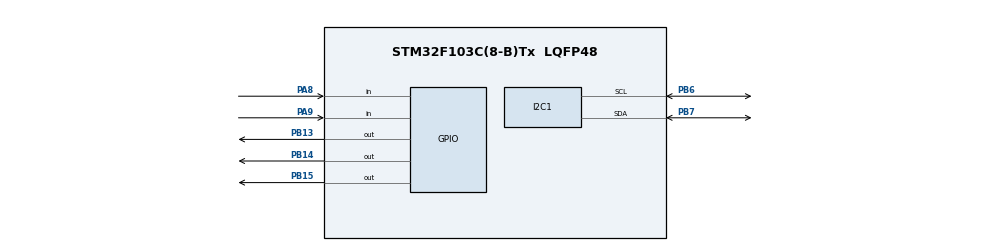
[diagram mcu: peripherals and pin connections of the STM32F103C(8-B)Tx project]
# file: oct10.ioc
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Mcu.Family=STM32F1
Mcu.Name=STM32F103C(8-B)Tx
Mcu.Package=LQFP48
NVIC.PriorityGroup=NVIC_PRIORITYGROUP_4
PA8.GPIO_PuPd=GPIO_PULLUP
PA8.Signal=GPIO_Input
PA9.GPIO_PuPd=GPIO_PULLUP
PA9.Signal=GPIO_Input
PB13.Signal=GPIO_Output
PB14.Signal=GPIO_Output
PB15.Signal=GPIO_Output
PB6.Mode=I2C
PB6.Signal=I2C1_SCL
PB7.Mode=I2C
PB7.Signal=I2C1_SDA
ProjectManager.HeapSize=0x200
ProjectManager.StackSize=0x400
ProjectManager.TargetToolchain=STM32CubeIDE
RCC.APB1Freq_Value=8000000
RCC.APB2Freq_Value=8000000
RCC.SYSCLKSource=RCC_SYSCLKSOURCE_PLLCLK
VP_SYS_VS_ND.Mode=No_Debug
board=custom

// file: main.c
/* USER CODE BEGIN Header */
/**
  ******************************************************************************
  * @file           : main.c
  * @brief          : Main program body
  ******************************************************************************
  * @attention
  *
  * Copyright (c) 2026 STMicroelectronics.
  * All rights reserved.
  *
  * This software is licensed under terms that can be found in the LICENSE file
  * in the root directory of this software component.
  * If no LICENSE file comes with this software, it is provided AS-IS.
  *
  ******************************************************************************
  */
/* USER CODE END Header */
#include "main.h"
#include <string.h>
#include <stdio.h>
#include "ssd1306.h"
#include "ssd1306_tests.h"
#include "ssd1306_fonts.h"

I2C_HandleTypeDef hi2c1;

void SystemClock_Config(void);
static void MX_GPIO_Init(void);
static void MX_I2C1_Init(void);

int main(void)
{

  /* MCU Configuration--------------------------------------------------------*/

  /* Reset of all peripherals, Initializes the Flash interface and the Systick. */
  HAL_Init();

  /* Configure the system clock */
  SystemClock_Config();

  /* Initialize all configured peripherals */
  MX_GPIO_Init();
  MX_I2C1_Init();
  /* USER CODE BEGIN 2 */
  char message[100];
  GPIO_PinState previous = GPIO_PIN_RESET;
  uint32_t count =0;
  /* USER CODE END 2 */

  /* Infinite loop */
  while (1)
  {

    /* USER CODE BEGIN 3 */
	  ssd1306_Fill(Black);
	  ssd1306_SetCursor(10, 0);
	  ssd1306_WriteString("RED", Font_16x15, White);
	  ssd1306_SetCursor(10, 20);
	  ssd1306_WriteString("GREEN", Font_16x15, White);
	  ssd1306_SetCursor(10, 40);
	  ssd1306_WriteString("BLUE", Font_16x15, White);
	  GPIO_PinState current = HAL_GPIO_ReadPin(GPIOA, GPIO_PIN_8);
	  GPIO_PinState light = HAL_GPIO_ReadPin(GPIOA, GPIO_PIN_9);
	  if(current != previous){
		  if (current == GPIO_PIN_SET) {   // ← only count the press edge
		          count =(count +1)%3;
		      }
	  }
	  previous = current;
	  snprintf(message, sizeof(message), "count %lu", count);
	  ssd1306_SetCursor(70, 0);
      ssd1306_WriteString(message, Font_6x8, White);
      ssd1306_UpdateScreen();
      HAL_GPIO_WritePin(GPIOB, GPIO_PIN_15, GPIO_PIN_RESET);
      HAL_GPIO_WritePin(GPIOB, GPIO_PIN_14, GPIO_PIN_RESET);
      HAL_GPIO_WritePin(GPIOB, GPIO_PIN_13, GPIO_PIN_RESET);
      if(count == 0 ){
    	  ssd1306_SetCursor(0, 0);
    	  ssd1306_WriteString(">", Font_16x15, White);
    	  if(light == GPIO_PIN_RESET){
    		  HAL_GPIO_WritePin(GPIOB, GPIO_PIN_15,GPIO_PIN_SET);
    	  }
      }
	  else if(count ==1){
	 	  ssd1306_SetCursor(0, 20);
	 	  ssd1306_WriteString(">", Font_16x15, White);
	 	  if(light == GPIO_PIN_RESET){
	 		 HAL_GPIO_WritePin(GPIOB, GPIO_PIN_14,GPIO_PIN_SET);
	 	  }
	  }
	  else if(count ==2 ){
		  ssd1306_SetCursor(0, 40);
		  ssd1306_WriteString(">", Font_16x15, White);
		  if(light == GPIO_PIN_RESET){
			  HAL_GPIO_WritePin(GPIOB, GPIO_PIN_13,GPIO_PIN_SET);
		  }
	  }
      ssd1306_UpdateScreen();
  }
  /* USER CODE END 3 */
}

void SystemClock_Config(void)
{
  RCC_OscInitTypeDef RCC_OscInitStruct = {0};
  RCC_ClkInitTypeDef RCC_ClkInitStruct = {0};

  /** Initializes the RCC Oscillators according to the specified parameters
  * in the RCC_OscInitTypeDef structure.
  */
  RCC_OscInitStruct.OscillatorType = RCC_OSCILLATORTYPE_HSI;
  RCC_OscInitStruct.HSIState = RCC_HSI_ON;
  RCC_OscInitStruct.HSICalibrationValue = RCC_HSICALIBRATION_DEFAULT;
  RCC_OscInitStruct.PLL.PLLState = RCC_PLL_ON;
  RCC_OscInitStruct.PLL.PLLSource = RCC_PLLSOURCE_HSI_DIV2;
  RCC_OscInitStruct.PLL.PLLMUL = RCC_PLL_MUL2;
  if (HAL_RCC_OscConfig(&RCC_OscInitStruct) != HAL_OK)
  {
    Error_Handler();
  }

  /** Initializes the CPU, AHB and APB buses clocks
  */
  RCC_ClkInitStruct.ClockType = RCC_CLOCKTYPE_HCLK|RCC_CLOCKTYPE_SYSCLK
                              |RCC_CLOCKTYPE_PCLK1|RCC_CLOCKTYPE_PCLK2;
  RCC_ClkInitStruct.SYSCLKSource = RCC_SYSCLKSOURCE_PLLCLK;
  RCC_ClkInitStruct.AHBCLKDivider = RCC_SYSCLK_DIV1;
  RCC_ClkInitStruct.APB1CLKDivider = RCC_HCLK_DIV1;
  RCC_ClkInitStruct.APB2CLKDivider = RCC_HCLK_DIV1;

  if (HAL_RCC_ClockConfig(&RCC_ClkInitStruct, FLASH_LATENCY_0) != HAL_OK)
  {
    Error_Handler();
  }
}

static void MX_I2C1_Init(void)
{

  hi2c1.Instance = I2C1;
  hi2c1.Init.ClockSpeed = 100000;
  hi2c1.Init.DutyCycle = I2C_DUTYCYCLE_2;
  hi2c1.Init.OwnAddress1 = 0;
  hi2c1.Init.AddressingMode = I2C_ADDRESSINGMODE_7BIT;
  hi2c1.Init.DualAddressMode = I2C_DUALADDRESS_DISABLE;
  hi2c1.Init.OwnAddress2 = 0;
  hi2c1.Init.GeneralCallMode = I2C_GENERALCALL_DISABLE;
  hi2c1.Init.NoStretchMode = I2C_NOSTRETCH_DISABLE;
  if (HAL_I2C_Init(&hi2c1) != HAL_OK)
  {
    Error_Handler();
  }

}

static void MX_GPIO_Init(void)
{
  GPIO_InitTypeDef GPIO_InitStruct = {0};

  /* GPIO Ports Clock Enable */
  __HAL_RCC_GPIOB_CLK_ENABLE();
  __HAL_RCC_GPIOA_CLK_ENABLE();

  /*Configure GPIO pin Output Level */
  HAL_GPIO_WritePin(GPIOB, GPIO_PIN_13|GPIO_PIN_14|GPIO_PIN_15, GPIO_PIN_RESET);

  /*Configure GPIO pins : PB13 PB14 PB15 */
  GPIO_InitStruct.Pin = GPIO_PIN_13|GPIO_PIN_14|GPIO_PIN_15;
  GPIO_InitStruct.Mode = GPIO_MODE_OUTPUT_PP;
  GPIO_InitStruct.Pull = GPIO_NOPULL;
  GPIO_InitStruct.Speed = GPIO_SPEED_FREQ_LOW;
  HAL_GPIO_Init(GPIOB, &GPIO_InitStruct);

  /*Configure GPIO pins : PA8 PA9 */
  GPIO_InitStruct.Pin = GPIO_PIN_8|GPIO_PIN_9;
  GPIO_InitStruct.Mode = GPIO_MODE_INPUT;
  GPIO_InitStruct.Pull = GPIO_PULLUP;
  HAL_GPIO_Init(GPIOA, &GPIO_InitStruct);

}

void Error_Handler(void)
{
  __disable_irq();
  while (1)
  {
  }
}
